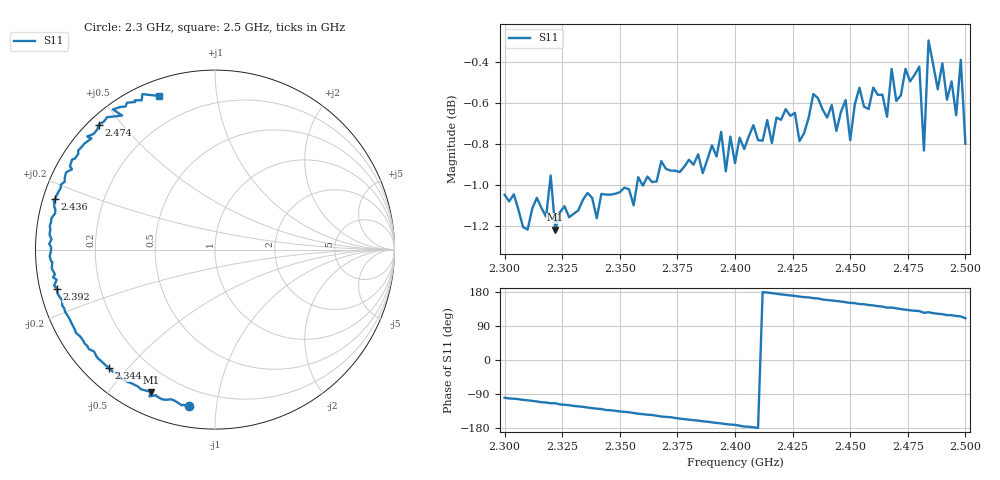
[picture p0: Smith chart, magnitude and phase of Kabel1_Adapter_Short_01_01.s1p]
# HZ S RI R 50
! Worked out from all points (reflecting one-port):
!   101 points, 2.3 GHz to 2.5 GHz, reference 50 ohm
!   lowest |S11| = -1.2 dB at 2.322 GHz (marker M1), VSWR 14.29, Z = 4.96 - j32.2 ohm
!   phase of S11 starts at -100 deg and turns -150 deg over the sweep
!   S11 on the Smith chart (normalised r, x): 2.3 GHz: 0.10, -0.84; 2.344 GHz: 0.07, -0.44; 2.392 GHz: 0.05, -0.12; 2.436 GHz: 0.03, +0.15; 2.474 GHz: 0.03, +0.44; 2.5 GHz: 0.07, +0.70
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2.3e9  -0.147 -0.8741
2.32e9  -0.3654 -0.8181
2.322e9  -0.3548 -0.7935
2.326e9  -0.4134 -0.7777
2.344e9  -0.5929 -0.659
2.35e9  -0.6351 -0.6202
2.368e9  -0.7756 -0.463
2.376e9  -0.811 -0.385
2.392e9  -0.8788 -0.2184
2.4e9  -0.8915 -0.1385
2.408e9  -0.9209 -0.0374
2.426e9  -0.9113 0.1754
2.436e9  -0.8917 0.2833
2.448e9  -0.8293 0.431
2.45e9  -0.7968 0.4475
2.46e9  -0.7622 0.5521
2.466e9  -0.6884 0.6193
2.468e9  -0.7121 0.6305
2.474e9  -0.6478 0.6964
2.476e9  -0.6205 0.712
2.48e9  -0.6027 0.7373
2.482e9  -0.5172 0.7471
2.484e9  -0.5692 0.7809
2.492e9  -0.4448 0.8223
2.494e9  -0.4475 0.8317
2.496e9  -0.4084 0.8319
2.498e9  -0.4044 0.8662
2.5e9  -0.3141 0.8563
